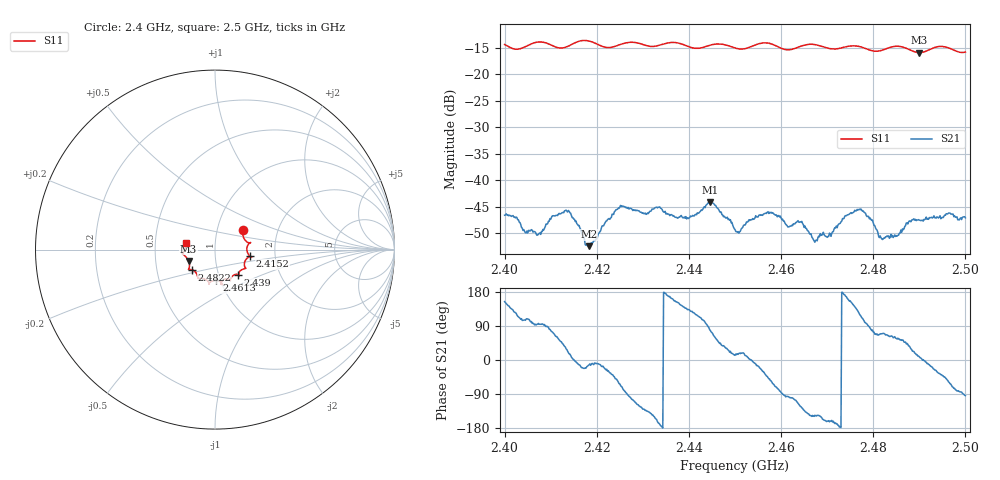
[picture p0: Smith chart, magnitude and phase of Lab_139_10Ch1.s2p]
# Hz S RI R 50
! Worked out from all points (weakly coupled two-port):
!   601 points, 2.4 GHz to 2.5 GHz, reference 50 ohm
!   highest |S21| = -44.19 dB at 2.4447 GHz (marker M1); lowest = -52.5 dB at 2.4183 GHz (marker M2)
!   lowest |S11| = -15.9 dB at 2.49 GHz (marker M3), VSWR 1.38, Z = 36.9 - j4.84 ohm
!   |S11| at or under -10 dB: start of sweep to end of sweep
!   S12 and S22 are empty: the file has one direction only
!   S11 on the Smith chart (normalised r, x): 2.4 GHz: 1.33, +0.31; 2.4152 GHz: 1.48, -0.11; 2.439 GHz: 1.24, -0.36; 2.4613 GHz: 0.96, -0.34; 2.4822 GHz: 0.76, -0.17; 2.5 GHz: 0.72, +0.05
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2.4e9  0.1559 0.1113  -0.00419 0.00203  0 0  0 0
2.407333e9  0.1986 0.0385  -0.000347 0.00305  0 0  0 0
2.413e9  0.179 -0.01  0.00414 0.00301  0 0  0 0
2.415167e9  0.1944 -0.036  0.00426 -0.000128  0 0  0 0
2.416667e9  0.204 -0.0418  0.00304 -0.00111  0 0  0 0
2.418333e9  0.2027 -0.0395  0.00231 -0.000526  0 0  0 0
2.425e9  0.1655 -0.0954  0.00252 -0.00496  0 0  0 0
2.430667e9  0.1517 -0.1105  -0.00323 -0.00349  0 0  0 0
2.433333e9  0.1331 -0.1318  -0.00538 -0.00138  0 0  0 0
2.439e9  0.1287 -0.1393  -0.0034 0.00292  0 0  0 0
2.444667e9  0.0847 -0.1691  0.00134 0.00603  0 0  0 0
2.45e9  0.0686 -0.1638  0.00333 0.000733  0 0  0 0
2.457333e9  0.0397 -0.1932  0.00313 -0.00368  0 0  0 0
2.461333e9  0.00753 -0.1703  -0.000386 -0.00367  0 0  0 0
2.464167e9  -0.028 -0.1817  -0.00216 -0.0034  0 0  0 0
2.466667e9  -0.0332 -0.1898  -0.00248 -0.0015  0 0  0 0
2.470333e9  -0.0458 -0.1702  -0.00276 -0.000996  0 0  0 0
2.477e9  -0.0948 -0.157  -0.00277 0.00454  0 0  0 0
2.482167e9  -0.1283 -0.1122  0.000943 0.00262  0 0  0 0
2.483333e9  -0.1396 -0.1107  0.00128 0.00268  0 0  0 0
2.49e9  -0.147 -0.0639  0.00414 0.000614  0 0  0 0
2.5e9  -0.159 0.0342  -0.000324 -0.00439  0 0  0 0
